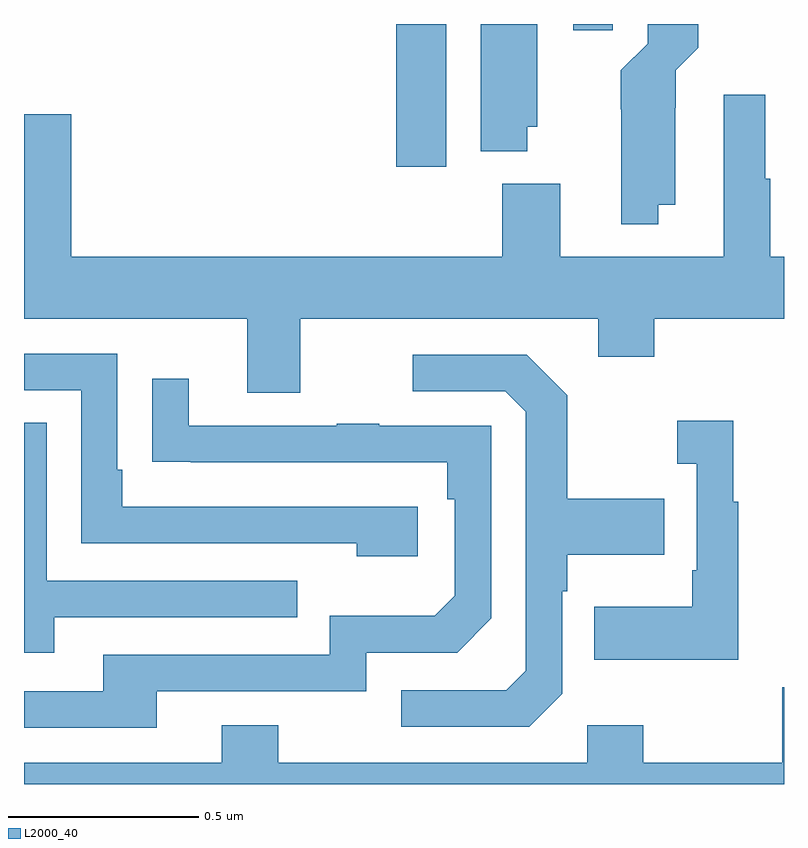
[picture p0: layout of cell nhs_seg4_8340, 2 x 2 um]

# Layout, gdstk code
import gdstk
lib = gdstk.Library(unit=1e-6, precision=1e-09)
def R(c, l, rs):  # rectangles x0, y0, x1, y1
    for r in rs: c.add(gdstk.rectangle(r[:2], r[2:], *l))
def P(c, l, *ps):  # polygons
    for p in ps: c.add(gdstk.Polygon(p, *l))
L2000_40 = (2000, 40)

nhs_seg4_8340 = lib.new_cell('nhs_seg4_8340')
R(nhs_seg4_8340, L2000_40, [(213.98,826.524,214.111,826.9), (214.445,826.884,214.549,826.9)])
P(nhs_seg4_8340, L2000_40, [(214.669,826.424),(214.714,826.424),(214.714,826.679),(214.715,826.679),(214.715,826.778),(214.774,826.837),(214.774,826.9),(214.641,826.9),(214.641,826.848),(214.571,826.778),(214.571,826.676),(214.572,826.676),(214.572,826.373),(214.669,826.373)],
  [(214.324,826.629),(214.351,826.629),(214.351,826.9),(214.202,826.9),(214.202,826.565),(214.324,826.565)],
  [(213.727,826.124),(214.511,826.124),(214.511,826.025),(214.659,826.025),(214.659,826.124),(215,826.124),(215,826.288),(214.964,826.288),(214.964,826.493),(214.951,826.493),(214.951,826.714),(214.841,826.714),(214.841,826.288),(214.411,826.288),(214.411,826.48),(214.259,826.48),(214.259,826.288),(213.124,826.288),(213.124,826.663),(213,826.663),(213,826.124),(213.587,826.124),(213.587,825.93),(213.727,825.93)],
  [(214.036,825.63),(213.259,825.63),(213.259,825.727),(213.246,825.727),(213.246,826.032),(213,826.032),(213,825.936),(213.15,825.936),(213.15,825.534),(213.875,825.534),(213.875,825.5),(214.036,825.5)],
  [(214.416,825.138),(214.416,825.407),(214.429,825.407),(214.429,825.503),(214.685,825.503),(214.685,825.651),(214.429,825.651),(214.429,825.923),(214.323,826.029),(214.023,826.029),(214.023,825.933),(214.266,825.933),(214.32,825.879),(214.32,825.198),(214.269,825.147),(213.993,825.147),(213.993,825.051),(214.329,825.051)],
  [(213.349,825.144),(213.9,825.144),(213.9,825.246),(214.14,825.246),(214.23,825.336),(214.23,825.843),(213.935,825.843),(213.935,825.848),(213.823,825.848),(213.823,825.843),(213.433,825.843),(213.433,825.967),(213.337,825.967),(213.337,825.748),(213.439,825.748),(213.439,825.747),(214.114,825.747),(214.114,825.65),(214.134,825.65),(214.134,825.396),(214.081,825.343),(213.804,825.343),(213.804,825.24),(213.209,825.24),(213.209,825.144),(213,825.144),(213,825.048),(213.349,825.048)],
  [(214.879,825.643),(214.867,825.643),(214.867,825.856),(214.719,825.856),(214.719,825.743),(214.77,825.743),(214.77,825.463),(214.758,825.463),(214.758,825.367),(214.501,825.367),(214.501,825.227),(214.879,825.227)],
  [(213.079,825.339),(213.719,825.339),(213.719,825.435),(213.06,825.435),(213.06,825.851),(213,825.851),(213,825.245),(213.079,825.245)],
  [(215,825.155),(214.996,825.155),(214.996,824.956),(214.629,824.956),(214.629,825.055),(214.482,825.055),(214.482,824.956),(213.669,824.956),(213.669,825.055),(213.521,825.055),(213.521,824.956),(213,824.956),(213,824.9),(215,824.9)])

lib.write_gds('nhs_seg4_8340.gds')
